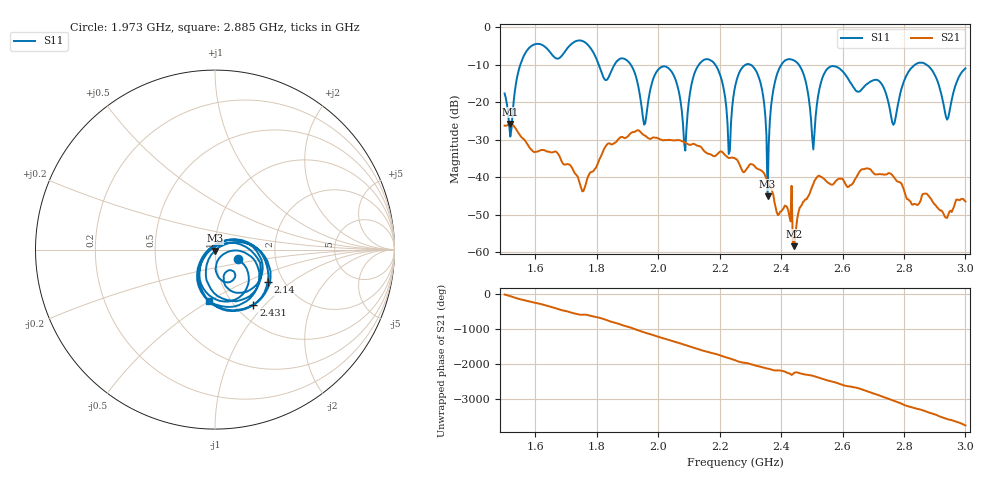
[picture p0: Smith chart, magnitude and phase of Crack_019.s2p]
# HZ S RI R 50
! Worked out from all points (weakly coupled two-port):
!   404 points, 1.5 GHz to 3 GHz, reference 50 ohm
!   highest |S21| = -25.82 dB at 1.519 GHz (marker M1); lowest = -58.4 dB at 2.442 GHz (marker M2)
!   lowest |S11| = -45.1 dB at 2.356 GHz (marker M3), VSWR 1.01, Z = 49.9 - j0.549 ohm
!   |S11| at or under -10 dB: 1.911 GHz to 2.132 GHz (221.8 MHz wide, 11 % of centre); 2.458 GHz to 2.836 GHz (378.2 MHz wide, 14.3 % of centre); 2.873 GHz to end of sweep (the widest 3 of 7)
!   S12 and S22 are empty: the file has one direction only
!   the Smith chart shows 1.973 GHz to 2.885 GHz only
!   S11 on the Smith chart (normalised r, x): 1.973 GHz: 1.28, -0.14; 2.14 GHz: 1.66, -0.68; 2.431 GHz: 1.21, -0.86; 2.885 GHz: 0.80, -0.50
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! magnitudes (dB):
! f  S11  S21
! 1.5 GHz  -17.7  -26.3
! 1.519 GHz  -29.2  -25.8
! 1.578 GHz  -5.7  -31.7
! 1.753 GHz  -3.7  -43.8
! 1.973 GHz  -17.3  -29.8
! 2.002 GHz  -11.1  -29.8
! 2.088 GHz  -32.9  -30.8
! 2.14 GHz  -9.3  -32.0
! 2.2 GHz  -12.3  -33.3
! 2.23 GHz  -33.8  -34.9
! 2.252 GHz  -15.3  -35.1
! 2.319 GHz  -11.7  -37.6
! 2.356 GHz  -45.1  -41.3
! 2.386 GHz  -12.8  -49.4
! 2.431 GHz  -8.5  -51.8
! 2.442 GHz  -8.9  -58.4
! 2.501 GHz  -29.3  -42.5
! 2.561 GHz  -10.5  -41.9
! 2.751 GHz  -20.5  -38.9
! 2.885 GHz  -10.8  -45.5
! 2.94 GHz  -24.7  -50.9
! 3 GHz  -11.0  -46.5
